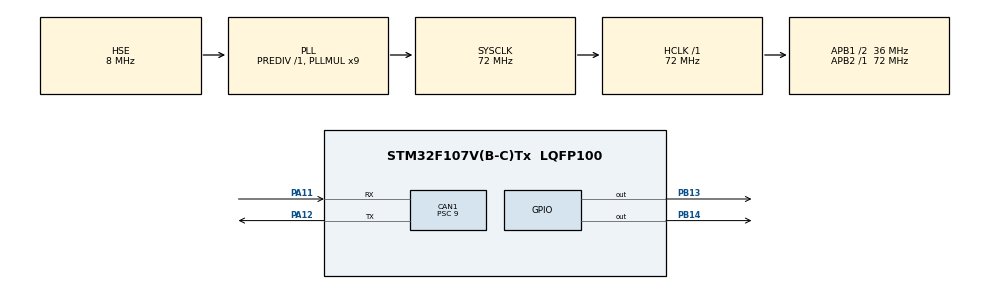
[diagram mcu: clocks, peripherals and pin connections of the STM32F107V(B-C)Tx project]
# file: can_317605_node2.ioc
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CAN1.BS1=CAN_BS1_5TQ
CAN1.BS2=CAN_BS2_2TQ
CAN1.CalculateBaudRate=500000
CAN1.CalculateTimeBit=2000
CAN1.CalculateTimeQuantum=250.0
CAN1.Mode=CAN_MODE_NORMAL
CAN1.Prescaler=9
CAN1.SJW=CAN_SJW_1TQ
Mcu.Family=STM32F1
Mcu.Name=STM32F107V(B-C)Tx
Mcu.Package=LQFP100
NVIC.CAN1_RX0_IRQn=true\:0\:0\:false\:false\:true\:true\:true\:true
NVIC.CAN1_RX1_IRQn=true\:0\:0\:false\:false\:true\:true\:true\:true
NVIC.CAN1_SCE_IRQn=true\:0\:0\:false\:false\:true\:true\:true\:true
NVIC.CAN1_TX_IRQn=true\:0\:0\:false\:false\:true\:true\:true\:true
NVIC.PriorityGroup=NVIC_PRIORITYGROUP_4
OSC_IN.Mode=HSE-External-Oscillator
OSC_IN.Signal=RCC_OSC_IN
OSC_OUT.Mode=HSE-External-Oscillator
OSC_OUT.Signal=RCC_OSC_OUT
PA11.Mode=CAN_Activate
PA11.Signal=CAN1_RX
PA12.Mode=CAN_Activate
PA12.Signal=CAN1_TX
PA13.Mode=Serial_Wire
PA13.Signal=SYS_JTMS-SWDIO
PA14.Mode=Serial_Wire
PA14.Signal=SYS_JTCK-SWCLK
PB13.Signal=GPIO_Output
PB14.Signal=GPIO_Output
ProjectManager.HeapSize=0x200
ProjectManager.StackSize=0x400
ProjectManager.TargetToolchain=STM32CubeIDE
RCC.AHBFreq_Value=72000000
RCC.APB1CLKDivider=RCC_HCLK_DIV2
RCC.APB1Freq_Value=36000000
RCC.APB1TimFreq_Value=72000000
RCC.APB2Freq_Value=72000000
RCC.APB2TimFreq_Value=72000000
RCC.HCLKFreq_Value=72000000
RCC.PLLMUL=RCC_PLL_MUL9
RCC.PLLSourceVirtual=RCC_PLLSOURCE_HSE
RCC.SYSCLKFreq_VALUE=72000000
RCC.SYSCLKSource=RCC_SYSCLKSOURCE_PLLCLK
RCC.USBFreq_Value=48000000
board=custom

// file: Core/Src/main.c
/* USER CODE BEGIN Header */
/**
  ******************************************************************************
  * @file           : main.c
  * @brief          : Main program body
  ******************************************************************************
  * @attention
  *
  * Copyright (c) 2025 STMicroelectronics.
  * All rights reserved.
  *
  * This software is licensed under terms that can be found in the LICENSE file
  * in the root directory of this software component.
  * If no LICENSE file comes with this software, it is provided AS-IS.
  *
  ******************************************************************************
  */
/* USER CODE END Header */
#include "main.h"

/* USER CODE BEGIN PM */
uint8_t RxData[8];
uint8_t TxAck[1] = {0xAA};   // ACK byte to send back
uint32_t TxMailbox;

// Timer for detecting missing frames
uint32_t lastRxTime = 0;
uint32_t timeoutMs = 1500;   // 1.5 sec timeout
/* USER CODE END PM */

CAN_HandleTypeDef hcan1;

/* USER CODE BEGIN PV */
CAN_TxHeaderTypeDef TxHeaderAck;
CAN_RxHeaderTypeDef RxHeader;
/* USER CODE END PV */

void SystemClock_Config(void);
static void MX_GPIO_Init(void);
static void MX_CAN1_Init(void);

int main(void)
{

  /* MCU Configuration--------------------------------------------------------*/

  /* Reset of all peripherals, Initializes the Flash interface and the Systick. */
  HAL_Init();

  /* Configure the system clock */
  SystemClock_Config();

  /* Initialize all configured peripherals */
  MX_GPIO_Init();
  MX_CAN1_Init();
  /* USER CODE BEGIN 2 */
  CAN_FilterTypeDef canFilter = {0};

  canFilter.FilterActivation = ENABLE;
  canFilter.FilterBank = 0;
  canFilter.FilterFIFOAssignment = CAN_FILTER_FIFO0;
  canFilter.FilterMode = CAN_FILTERMODE_IDMASK;
  canFilter.FilterScale = CAN_FILTERSCALE_32BIT;

  canFilter.FilterIdHigh = 0x0000;
  canFilter.FilterIdLow  = 0x0000;
  canFilter.FilterMaskIdHigh = 0x0000;
  canFilter.FilterMaskIdLow  = 0x0000;

  if (HAL_CAN_ConfigFilter(&hcan1, &canFilter) != HAL_OK)
  {
      Error_Handler();
  }

  if (HAL_CAN_Start(&hcan1) != HAL_OK)
  {
	  Error_Handler();
  }

//  __HAL_CAN_ENABLE_IT(&hcan1, CAN_IT_RX_FIFO0_MSG_PENDING);

      // Enable RX interrupt
      HAL_CAN_ActivateNotification(&hcan1, CAN_IT_RX_FIFO0_MSG_PENDING);

      // CAN TX Header Configuration
      TxHeaderAck.StdId = 0x321;       // ACK ID (different from sender)
      TxHeaderAck.IDE = CAN_ID_STD;
      TxHeaderAck.RTR = CAN_RTR_DATA;
      TxHeaderAck.DLC = 1;

      // Initialize timeout timer
      lastRxTime = HAL_GetTick();

      HAL_GPIO_WritePin(GPIOB, GPIO_PIN_14, SET);
      HAL_GPIO_WritePin(GPIOB, GPIO_PIN_13, SET);
  /* USER CODE END 2 */

  /* Infinite loop */
  /* USER CODE BEGIN WHILE */
  while (1)
  {
	  // If no message received for timeout period
	      if ((HAL_GetTick() - lastRxTime) > timeoutMs)
	      {
	          HAL_GPIO_TogglePin(GPIOB, GPIO_PIN_13);  // PB13 = RED LED
	          lastRxTime = HAL_GetTick(); // reset timer to avoid rapid blinking
	      }
    /* USER CODE END WHILE */

  }
}

void SystemClock_Config(void)
{
  RCC_OscInitTypeDef RCC_OscInitStruct = {0};
  RCC_ClkInitTypeDef RCC_ClkInitStruct = {0};

  /** Initializes the RCC Oscillators according to the specified parameters
  * in the RCC_OscInitTypeDef structure.
  */
  RCC_OscInitStruct.OscillatorType = RCC_OSCILLATORTYPE_HSE;
  RCC_OscInitStruct.HSEState = RCC_HSE_ON;
  RCC_OscInitStruct.HSEPredivValue = RCC_HSE_PREDIV_DIV1;
  RCC_OscInitStruct.HSIState = RCC_HSI_ON;
  RCC_OscInitStruct.Prediv1Source = RCC_PREDIV1_SOURCE_HSE;
  RCC_OscInitStruct.PLL.PLLState = RCC_PLL_ON;
  RCC_OscInitStruct.PLL.PLLSource = RCC_PLLSOURCE_HSE;
  RCC_OscInitStruct.PLL.PLLMUL = RCC_PLL_MUL9;
  RCC_OscInitStruct.PLL2.PLL2State = RCC_PLL_NONE;
  if (HAL_RCC_OscConfig(&RCC_OscInitStruct) != HAL_OK)
  {
    Error_Handler();
  }

  /** Initializes the CPU, AHB and APB buses clocks
  */
  RCC_ClkInitStruct.ClockType = RCC_CLOCKTYPE_HCLK|RCC_CLOCKTYPE_SYSCLK
                              |RCC_CLOCKTYPE_PCLK1|RCC_CLOCKTYPE_PCLK2;
  RCC_ClkInitStruct.SYSCLKSource = RCC_SYSCLKSOURCE_PLLCLK;
  RCC_ClkInitStruct.AHBCLKDivider = RCC_SYSCLK_DIV1;
  RCC_ClkInitStruct.APB1CLKDivider = RCC_HCLK_DIV2;
  RCC_ClkInitStruct.APB2CLKDivider = RCC_HCLK_DIV1;

  if (HAL_RCC_ClockConfig(&RCC_ClkInitStruct, FLASH_LATENCY_2) != HAL_OK)
  {
    Error_Handler();
  }

  /** Configure the Systick interrupt time
  */
  __HAL_RCC_PLLI2S_ENABLE();
}

static void MX_CAN1_Init(void)
{

  hcan1.Instance = CAN1;
  hcan1.Init.Prescaler = 9;
  hcan1.Init.Mode = CAN_MODE_NORMAL;
  hcan1.Init.SyncJumpWidth = CAN_SJW_1TQ;
  hcan1.Init.TimeSeg1 = CAN_BS1_5TQ;
  hcan1.Init.TimeSeg2 = CAN_BS2_2TQ;
  hcan1.Init.TimeTriggeredMode = DISABLE;
  hcan1.Init.AutoBusOff = DISABLE;
  hcan1.Init.AutoWakeUp = DISABLE;
  hcan1.Init.AutoRetransmission = DISABLE;
  hcan1.Init.ReceiveFifoLocked = DISABLE;
  hcan1.Init.TransmitFifoPriority = DISABLE;
  if (HAL_CAN_Init(&hcan1) != HAL_OK)
  {
    Error_Handler();
  }

}

static void MX_GPIO_Init(void)
{
  GPIO_InitTypeDef GPIO_InitStruct = {0};

  /* GPIO Ports Clock Enable */
  __HAL_RCC_GPIOB_CLK_ENABLE();
  __HAL_RCC_GPIOA_CLK_ENABLE();

  /*Configure GPIO pin Output Level */
  HAL_GPIO_WritePin(GPIOB, GPIO_PIN_13|GPIO_PIN_14, GPIO_PIN_RESET);

  /*Configure GPIO pins : PB13 PB14 */
  GPIO_InitStruct.Pin = GPIO_PIN_13|GPIO_PIN_14;
  GPIO_InitStruct.Mode = GPIO_MODE_OUTPUT_PP;
  GPIO_InitStruct.Pull = GPIO_NOPULL;
  GPIO_InitStruct.Speed = GPIO_SPEED_FREQ_LOW;
  HAL_GPIO_Init(GPIOB, &GPIO_InitStruct);

}

/* USER CODE BEGIN 4 */
void HAL_CAN_RxFifo0MsgPendingCallback(CAN_HandleTypeDef *hcan)
{
	HAL_CAN_GetRxMessage(hcan, CAN_RX_FIFO0, &RxHeader, RxData);

	    // Check if correct message received
	    if (RxData[0] == 1)
	    {
	        HAL_GPIO_TogglePin(GPIOB, GPIO_PIN_14);   // GREEN LED
	    }

	    // Send ACK back to Node-1
	    HAL_CAN_AddTxMessage(&hcan1, &TxHeaderAck, TxAck, &TxMailbox);

	    // Reset timeout timer
	    lastRxTime = HAL_GetTick();
}
/* USER CODE END 4 */

void Error_Handler(void)
{
  __disable_irq();
  while (1)
  {
  }
}
